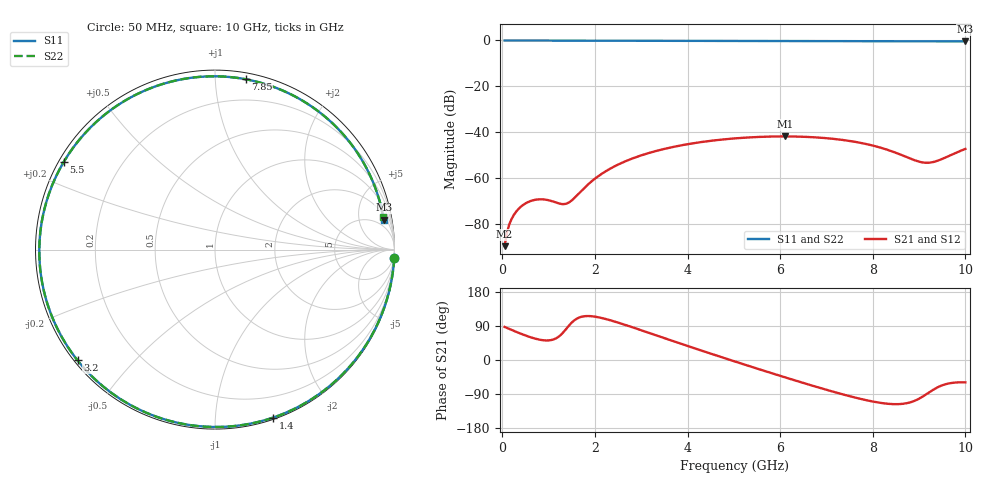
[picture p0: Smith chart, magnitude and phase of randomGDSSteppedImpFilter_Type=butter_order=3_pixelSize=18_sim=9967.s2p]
! freq	dB(S11)	phase(S11)	dB(S12)	phase(S12)
!  dB(S21)	phase(S21)	dB(S22)	phase(S22)
!S-par simulation data
#  GHz  S  DB  R 50
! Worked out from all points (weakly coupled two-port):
!   200 points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, 50 MHz to 10 GHz, reference 50 ohm
!   highest |S21| = -41.92 dB at 6.1 GHz (marker M1); lowest = -89.9 dB at 50 MHz (marker M2)
!   lowest |S11| = -0.4 dB at 10 GHz (marker M3), VSWR 42.94, Z = 142 + j532 ohm
!   |S11| at or under -10 dB: nowhere
!   |S22| runs from -0.4 to 0.0 dB; largest |S21 - S12| = 0
!   S11 on the Smith chart (normalised r, x): 50 MHz: 0, -42; 1.4 GHz: 0.01, -1.40; 3.2 GHz: 0.01, -0.35; 5.5 GHz: 0.01, +0.27; 7.85 GHz: 0.04, +1.19; 10 GHz: 3, +11
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0.05  -0.00 -2.7  -89.87 87.3  -89.87 87.3  -0.00 -2.7
0.15  -0.01 -8.1  -80.43 82.1  -80.43 82.1  -0.01 -8.1
0.35  -0.03 -18.7  -73.60 71.8  -73.60 71.8  -0.03 -18.7
0.65  -0.05 -34.4  -69.90 58.5  -69.90 58.5  -0.05 -34.4
1.05  -0.07 -54.5  -70.06 52.5  -70.06 52.5  -0.07 -54.4
1.4  -0.08 -71.0  -71.18 85.1  -71.18 85.1  -0.08 -71.0
1.75  -0.10 -86.6  -64.83 115.1  -64.83 115.1  -0.10 -86.6
2.05  -0.11 -99.1  -59.63 113.3  -59.63 113.3  -0.11 -99.1
2.35  -0.12 -110.9  -55.79 104.3  -55.79 104.3  -0.12 -110.9
3.2  -0.14 -141.2  -48.96 70.2  -48.96 70.2  -0.14 -141.0
3.4  -0.15 -147.7  -47.87 61.9  -47.87 61.9  -0.15 -147.6
4.2  -0.18 -172.5  -44.68 29.0  -44.68 29.0  -0.18 -172.3
5.05  -0.21 162.7  -42.74 -5.0  -42.74 -5.0  -0.21 163.0
5.5  -0.23 149.8  -42.18 -22.6  -42.18 -22.6  -0.23 150.1
6.1  -0.25 132.5  -41.92 -45.6  -41.92 -45.6  -0.25 133.0
6.7  -0.28 114.9  -42.26 -67.9  -42.26 -67.9  -0.28 115.5
7.3  -0.30 96.9  -43.33 -89.0  -43.33 -89.0  -0.30 97.5
7.85  -0.32 79.9  -45.21 -105.8  -45.21 -105.8  -0.31 80.6
8.35  -0.33 64.0  -47.99 -115.8  -47.99 -115.8  -0.33 64.7
8.95  -0.35 44.5  -52.64 -105.1  -52.64 -105.1  -0.35 45.3
9.2  -0.36 36.3  -53.43 -86.8  -53.43 -86.8  -0.36 37.2
10  -0.40 10.0  -47.37 -59.1  -47.37 -59.1  -0.40 10.9
